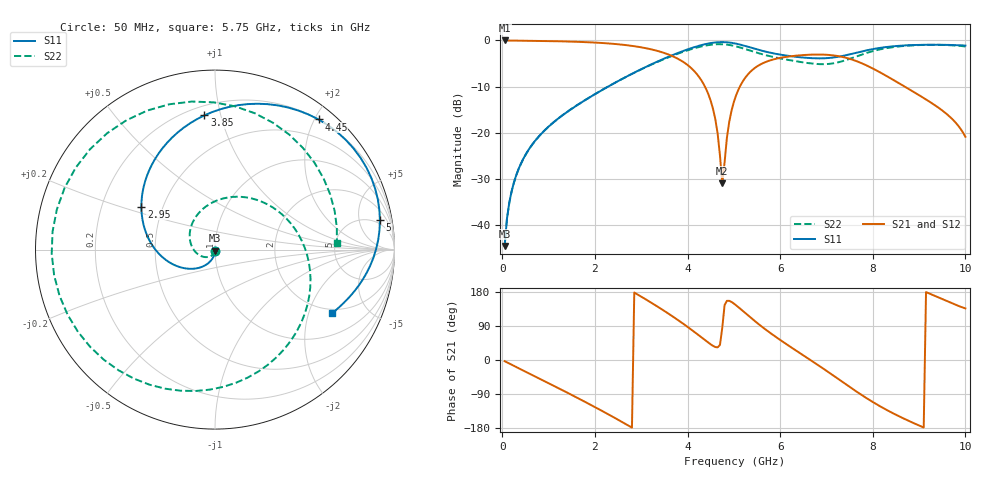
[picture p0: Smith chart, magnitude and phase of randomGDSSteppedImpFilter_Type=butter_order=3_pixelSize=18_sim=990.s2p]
! freq	dB(S11)	phase(S11)	dB(S12)	phase(S12)
!  dB(S21)	phase(S21)	dB(S22)	phase(S22)
!S-par simulation data
#  GHz  S  DB  R 50
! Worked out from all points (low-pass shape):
!   200 points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, 50 MHz to 10 GHz, reference 50 ohm
!   highest |S21| = -0.01 dB at 50 MHz (marker M1); lowest = -30.9 dB at 4.75 GHz (marker M2)
!   |S21| within 3 dB of the highest: start of sweep to 3.577 GHz
!   lowest |S11| = -44.5 dB at 50 MHz (marker M3), VSWR 1.01, Z = 50 - j0.595 ohm
!   |S11| at or under -10 dB: start of sweep to 2.285 GHz
!   |S22| runs from -44.6 to -0.8 dB; largest |S21 - S12| = 0
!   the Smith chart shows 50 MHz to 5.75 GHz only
!   S11 on the Smith chart (normalised r, x): 50 MHz: 1.00, -0.01; 2.95 GHz: 0.38, +0.23; 3.85 GHz: 0.26, +0.89; 4.45 GHz: 0.20, +2.06; 5 GHz: 4, +10; 5.75 GHz: 1.82, -2.88
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0.05  -44.52 -88.7  -0.01 -3.1  -0.01 -3.1  -44.56 -91.7
0.2  -32.72 -96.5  -0.02 -12.2  -0.02 -12.2  -32.77 -106.8
0.45  -25.70 -106.2  -0.05 -27.5  -0.05 -27.5  -25.75 -129.5
1.15  -17.38 -131.4  -0.16 -70.4  -0.16 -70.4  -17.37 168.6
1.75  -13.17 -153.7  -0.35 -108.1  -0.35 -108.1  -13.14 115.4
2.95  -6.47 149.8  -1.41 170.8  -1.41 170.8  -6.50 10.1
3.4  -4.35 123.4  -2.41 137.2  -2.41 137.2  -4.44 -30.9
3.85  -2.49 94.5  -4.30 100.6  -4.30 100.6  -2.66 -75.7
4.45  -0.66 51.5  -11.66 45.7  -11.66 45.7  -1.01 -149.0
4.65  -0.39 36.2  -20.16 33.3  -20.16 33.3  -0.82 -178.5
4.75  -0.36 28.5  -30.95 84.8  -30.95 84.8  -0.83 165.7
5  -0.60 10.1  -13.34 149.0  -13.34 149.0  -1.17 124.4
5.05  -0.70 6.7  -11.85 144.3  -11.85 144.3  -1.29 115.9
5.45  -1.80 -16.1  -5.99 103.0  -5.99 103.0  -2.51 49.2
5.75  -2.58 -28.4  -4.43 74.6  -4.43 74.6  -3.35 3.0
6.25  -3.44 -44.1  -3.40 32.4  -3.40 32.4  -4.35 -66.9
6.7  -3.85 -54.7  -3.07 -3.7  -3.07 -3.7  -5.02 -130.1
7.15  -3.70 -62.5  -3.24 -41.1  -3.24 -41.1  -4.96 159.2
7.6  -2.78 -71.9  -4.31 -79.3  -4.31 -79.3  -3.63 89.4
8.35  -1.36 -97.2  -8.01 -135.0  -8.01 -135.0  -1.58 3.5
9.25  -0.93 -132.5  -13.42 173.9  -13.42 173.9  -0.95 -64.0
10  -1.11 -168.6  -20.87 136.1  -20.87 136.1  -1.31 -121.5
